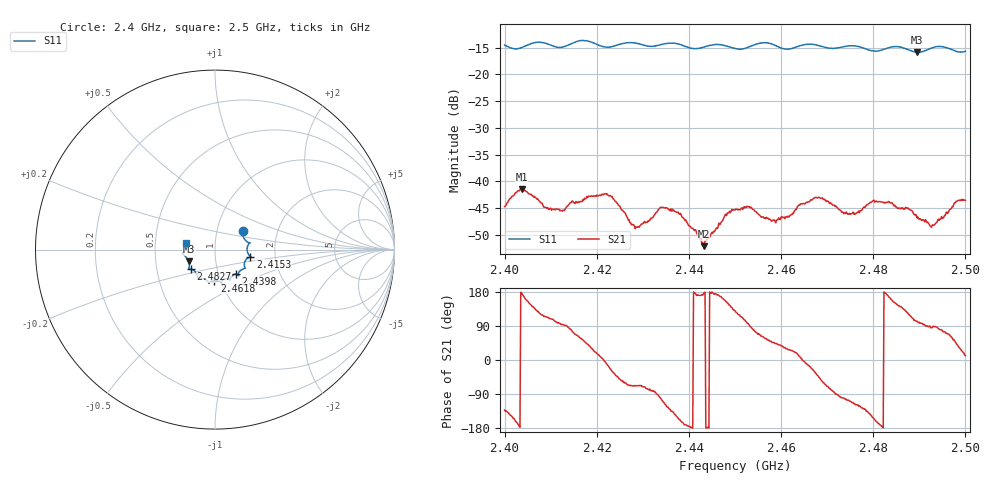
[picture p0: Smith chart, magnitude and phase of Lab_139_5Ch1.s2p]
# Hz S RI R 50
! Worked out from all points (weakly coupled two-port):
!   601 points, 2.4 GHz to 2.5 GHz, reference 50 ohm
!   highest |S21| = -41.47 dB at 2.4037 GHz (marker M1); lowest = -52.1 dB at 2.4432 GHz (marker M2)
!   lowest |S11| = -15.9 dB at 2.4895 GHz (marker M3), VSWR 1.38, Z = 37 - j5.02 ohm
!   |S11| at or under -10 dB: start of sweep to end of sweep
!   S12 and S22 are empty: the file has one direction only
!   S11 on the Smith chart (normalised r, x): 2.4 GHz: 1.33, +0.29; 2.4153 GHz: 1.48, -0.12; 2.4398 GHz: 1.21, -0.34; 2.4618 GHz: 0.94, -0.33; 2.4827 GHz: 0.75, -0.17; 2.5 GHz: 0.72, +0.06
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2.4e9  0.1547 0.1061  -0.0039 -0.00433  0 0  0 0
2.403667e9  0.1702 0.051  -0.00843 0.000404  0 0  0 0
2.409667e9  0.1877 0.0301  -0.00187 0.00516  0 0  0 0
2.415333e9  0.1966 -0.039  0.00236 0.00578  0 0  0 0
2.416667e9  0.2025 -0.0431  0.00358 0.00543  0 0  0 0
2.4225e9  0.1652 -0.0701  0.00716 -0.002  0 0  0 0
2.428667e9  0.1641 -0.1053  0.00139 -0.00345  0 0  0 0
2.433333e9  0.13 -0.1342  -0.000273 -0.00543  0 0  0 0
2.437167e9  0.1313 -0.1434  -0.00431 -0.00289  0 0  0 0
2.439833e9  0.1151 -0.1363  -0.00393 -0.000356  0 0  0 0
2.443167e9  0.0874 -0.1566  -0.00248 0.000216  0 0  0 0
2.45e9  0.065 -0.1617  -0.00344 0.00416  0 0  0 0
2.453167e9  0.0376 -0.1772  -3.02e-05 0.00582  0 0  0 0
2.458333e9  0.0355 -0.1862  0.00303 0.00314  0 0  0 0
2.461833e9  -0.00319 -0.1727  0.00421 0.00213  0 0  0 0
2.466667e9  -0.0347 -0.1879  0.00617 -0.00263  0 0  0 0
2.474833e9  -0.0925 -0.1601  -0.00158 -0.00478  0 0  0 0
2.482667e9  -0.135 -0.109  -0.00629 0.000373  0 0  0 0
2.483333e9  -0.1402 -0.1085  -0.00633 0.00145  0 0  0 0
2.4895e9  -0.1462 -0.0661  -0.000965 0.00446  0 0  0 0
2.492833e9  -0.1751 -0.0274  0.000297 0.00392  0 0  0 0
2.5e9  -0.1597 0.039  0.00652 0.00131  0 0  0 0
